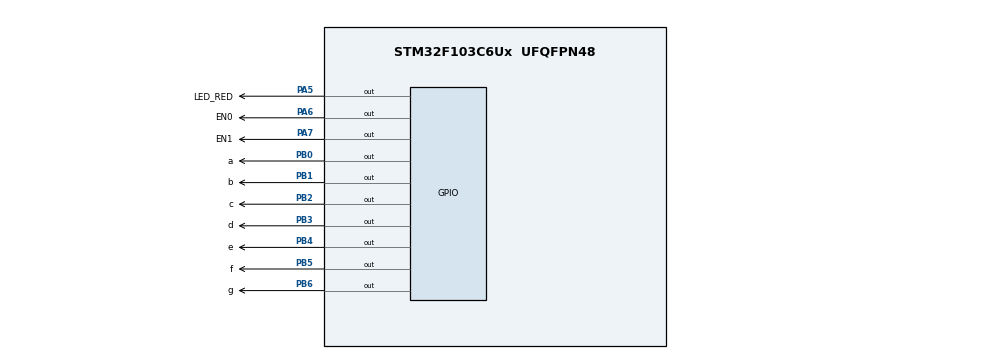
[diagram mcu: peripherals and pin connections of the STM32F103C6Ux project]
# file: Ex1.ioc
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Mcu.Family=STM32F1
Mcu.Name=STM32F103C6Ux
Mcu.Package=UFQFPN48
NVIC.PriorityGroup=NVIC_PRIORITYGROUP_4
NVIC.TIM2_IRQn=true\:0\:0\:false\:false\:true\:true\:true\:true
PA5.GPIO_Label=LED_RED
PA5.Signal=GPIO_Output
PA6.GPIO_Label=EN0
PA6.PinState=GPIO_PIN_SET
PA6.Signal=GPIO_Output
PA7.GPIO_Label=EN1
PA7.PinState=GPIO_PIN_SET
PA7.Signal=GPIO_Output
PB0.GPIO_Label=a
PB0.Signal=GPIO_Output
PB1.GPIO_Label=b
PB1.Signal=GPIO_Output
PB2.GPIO_Label=c
PB2.Signal=GPIO_Output
PB3.GPIO_Label=d
PB3.Signal=GPIO_Output
PB4.GPIO_Label=e
PB4.Signal=GPIO_Output
PB5.GPIO_Label=f
PB5.Signal=GPIO_Output
PB6.GPIO_Label=g
PB6.Signal=GPIO_Output
ProjectManager.HeapSize=0x200
ProjectManager.StackSize=0x400
ProjectManager.TargetToolchain=STM32CubeIDE
RCC.APB1Freq_Value=8000000
RCC.APB2Freq_Value=8000000
TIM2.Period=9
TIM2.Prescaler=7999
VP_SYS_VS_ND.Mode=No_Debug
VP_TIM2_VS_ClockSourceINT.Mode=Internal
board=custom

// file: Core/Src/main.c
/* USER CODE BEGIN Header */
/**
  ******************************************************************************
  * @file           : main.c
  * @brief          : Main program body
  ******************************************************************************
  * @attention
  *
  * Copyright (c) 2026 STMicroelectronics.
  * All rights reserved.
  *
  * This software is licensed under terms that can be found in the LICENSE file
  * in the root directory of this software component.
  * If no LICENSE file comes with this software, it is provided AS-IS.
  *
  ******************************************************************************
  */
/* USER CODE END Header */
#include "main.h"

TIM_HandleTypeDef htim2;

void SystemClock_Config(void);
static void MX_GPIO_Init(void);
static void MX_TIM2_Init(void);

/* USER CODE BEGIN 0 */
void display7SEG(int num) {
    uint8_t seg_code[10] = {
        0b1000000, // 0
        0b1111001, // 1
        0b0100100, // 2
        0b0110000, // 3
        0b0011001, // 4
        0b0010010, // 5
        0b0000010, // 6
        0b1111000, // 7
        0b0000000, // 8
        0b0010000  // 9
    };
    if (num >= 0 && num <= 9) {
        uint8_t code = seg_code[num];
        for (int i = 0; i < 7; i++) {
            HAL_GPIO_WritePin(GPIOB, GPIO_PIN_0 << i, (code >> i) & 0x01);
        }
    }
}

int counter = 50;
int state = 0;
/* USER CODE END 0 */

int main(void)
{

  /* MCU Configuration--------------------------------------------------------*/

  /* Reset of all peripherals, Initializes the Flash interface and the Systick. */
  HAL_Init();

  /* Configure the system clock */
  SystemClock_Config();

  /* Initialize all configured peripherals */
  MX_GPIO_Init();
  MX_TIM2_Init();
  /* USER CODE BEGIN 2 */
	HAL_GPIO_WritePin(GPIOA, GPIO_PIN_6, GPIO_PIN_SET);
	HAL_GPIO_WritePin(GPIOA, GPIO_PIN_7, GPIO_PIN_SET);

	HAL_TIM_Base_Start_IT(&htim2);
    /* USER CODE END 2 */

  /* Infinite loop */
  while (1)
  {

  }
}

void SystemClock_Config(void)
{
  RCC_OscInitTypeDef RCC_OscInitStruct = {0};
  RCC_ClkInitTypeDef RCC_ClkInitStruct = {0};

  /** Initializes the RCC Oscillators according to the specified parameters
  * in the RCC_OscInitTypeDef structure.
  */
  RCC_OscInitStruct.OscillatorType = RCC_OSCILLATORTYPE_HSI;
  RCC_OscInitStruct.HSIState = RCC_HSI_ON;
  RCC_OscInitStruct.HSICalibrationValue = RCC_HSICALIBRATION_DEFAULT;
  RCC_OscInitStruct.PLL.PLLState = RCC_PLL_NONE;
  if (HAL_RCC_OscConfig(&RCC_OscInitStruct) != HAL_OK)
  {
    Error_Handler();
  }

  /** Initializes the CPU, AHB and APB buses clocks
  */
  RCC_ClkInitStruct.ClockType = RCC_CLOCKTYPE_HCLK|RCC_CLOCKTYPE_SYSCLK
                              |RCC_CLOCKTYPE_PCLK1|RCC_CLOCKTYPE_PCLK2;
  RCC_ClkInitStruct.SYSCLKSource = RCC_SYSCLKSOURCE_HSI;
  RCC_ClkInitStruct.AHBCLKDivider = RCC_SYSCLK_DIV1;
  RCC_ClkInitStruct.APB1CLKDivider = RCC_HCLK_DIV1;
  RCC_ClkInitStruct.APB2CLKDivider = RCC_HCLK_DIV1;

  if (HAL_RCC_ClockConfig(&RCC_ClkInitStruct, FLASH_LATENCY_0) != HAL_OK)
  {
    Error_Handler();
  }
}

static void MX_TIM2_Init(void)
{

  TIM_ClockConfigTypeDef sClockSourceConfig = {0};
  TIM_MasterConfigTypeDef sMasterConfig = {0};

  htim2.Instance = TIM2;
  htim2.Init.Prescaler = 7999;
  htim2.Init.CounterMode = TIM_COUNTERMODE_UP;
  htim2.Init.Period = 9;
  htim2.Init.ClockDivision = TIM_CLOCKDIVISION_DIV1;
  htim2.Init.AutoReloadPreload = TIM_AUTORELOAD_PRELOAD_DISABLE;
  if (HAL_TIM_Base_Init(&htim2) != HAL_OK)
  {
    Error_Handler();
  }
  sClockSourceConfig.ClockSource = TIM_CLOCKSOURCE_INTERNAL;
  if (HAL_TIM_ConfigClockSource(&htim2, &sClockSourceConfig) != HAL_OK)
  {
    Error_Handler();
  }
  sMasterConfig.MasterOutputTrigger = TIM_TRGO_RESET;
  sMasterConfig.MasterSlaveMode = TIM_MASTERSLAVEMODE_DISABLE;
  if (HAL_TIMEx_MasterConfigSynchronization(&htim2, &sMasterConfig) != HAL_OK)
  {
    Error_Handler();
  }

}

static void MX_GPIO_Init(void)
{
  GPIO_InitTypeDef GPIO_InitStruct = {0};

  /* GPIO Ports Clock Enable */
  __HAL_RCC_GPIOA_CLK_ENABLE();
  __HAL_RCC_GPIOB_CLK_ENABLE();

  /*Configure GPIO pin Output Level */
  HAL_GPIO_WritePin(LED_RED_GPIO_Port, LED_RED_Pin, GPIO_PIN_RESET);

  /*Configure GPIO pin Output Level */
  HAL_GPIO_WritePin(GPIOA, EN0_Pin|EN1_Pin, GPIO_PIN_SET);

  /*Configure GPIO pin Output Level */
  HAL_GPIO_WritePin(GPIOB, a_Pin|b_Pin|c_Pin|d_Pin
                          |e_Pin|f_Pin|g_Pin, GPIO_PIN_RESET);

  /*Configure GPIO pins : LED_RED_Pin EN0_Pin EN1_Pin */
  GPIO_InitStruct.Pin = LED_RED_Pin|EN0_Pin|EN1_Pin;
  GPIO_InitStruct.Mode = GPIO_MODE_OUTPUT_PP;
  GPIO_InitStruct.Pull = GPIO_NOPULL;
  GPIO_InitStruct.Speed = GPIO_SPEED_FREQ_LOW;
  HAL_GPIO_Init(GPIOA, &GPIO_InitStruct);

  /*Configure GPIO pins : a_Pin b_Pin c_Pin d_Pin
                           e_Pin f_Pin g_Pin */
  GPIO_InitStruct.Pin = a_Pin|b_Pin|c_Pin|d_Pin
                          |e_Pin|f_Pin|g_Pin;
  GPIO_InitStruct.Mode = GPIO_MODE_OUTPUT_PP;
  GPIO_InitStruct.Pull = GPIO_NOPULL;
  GPIO_InitStruct.Speed = GPIO_SPEED_FREQ_LOW;
  HAL_GPIO_Init(GPIOB, &GPIO_InitStruct);

}

/* USER CODE BEGIN 4 */
void HAL_TIM_PeriodElapsedCallback(TIM_HandleTypeDef *htim) {
    if (htim->Instance == TIM2) {
        counter--;
        if (counter <= 0) {
            counter = 50;
            if (state == 0) {
                HAL_GPIO_WritePin(GPIOA, GPIO_PIN_7, GPIO_PIN_SET);
                HAL_GPIO_WritePin(GPIOA, GPIO_PIN_6, GPIO_PIN_RESET);

                display7SEG(1);
                state = 1;
            }
            else {
                HAL_GPIO_WritePin(GPIOA, GPIO_PIN_6, GPIO_PIN_SET);
                HAL_GPIO_WritePin(GPIOA, GPIO_PIN_7, GPIO_PIN_RESET);
                display7SEG(2);
                state = 0;
            }
            HAL_GPIO_TogglePin(GPIOA, GPIO_PIN_5);
        }
    }
}
/* USER CODE END 4 */

void Error_Handler(void)
{
  __disable_irq();
  while (1)
  {
  }
}
